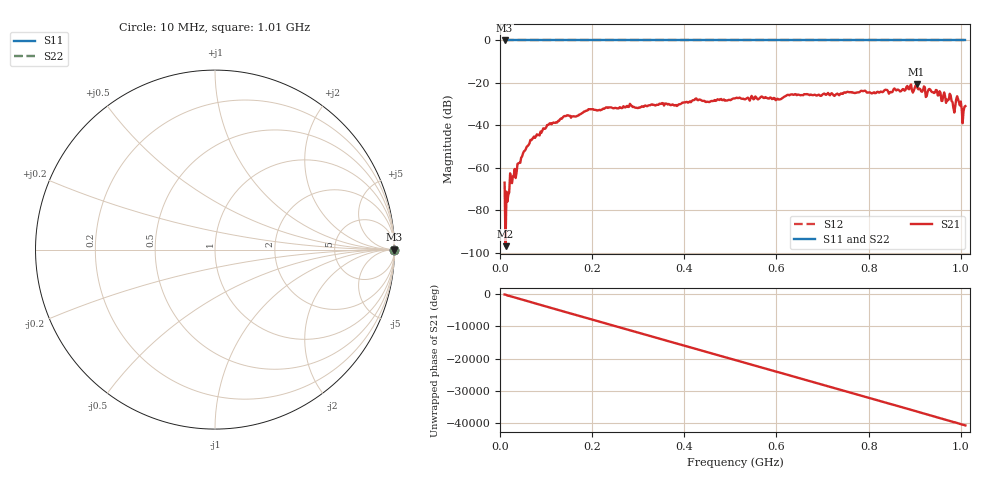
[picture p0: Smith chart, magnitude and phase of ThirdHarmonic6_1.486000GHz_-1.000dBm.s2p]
! 8/16/2025 5:23:43 PM
! C:\ANRITSUVNA\TEMP\TEMP.S2P
! CHANNEL.1
! TR.MEASUREMENT
! RAW.DATA
! RF.CORRECTION.OFF
! AVERAGING.OFF
! IF.BANDWIDTH: 5KHZ
! SWEEPTYPE:  FREQ.SWEEP(Linear)
! Reference Plane Port Info
! PORT:  PORT1  PORT2
! DISTANCE:  0  m  0  m
! TIME:  0  s  0  s
! PHASE.OFFSET:  0  deg.  0  deg.
! LOSS:  0  dB  0  dB
! REF.LOSS:  0  dB  0  dB
! REF.FREQ:  0  Hz  0  Hz
! Power Info
! POWER:  -20  dBm  -20  dBm
! EFF.POWER:  -20  dBm  -20  dBm
! SOURCE.ATTEN:  0  dB  0  dB
! TEST.ATTEN:  0  dB  0  dB
# GHZ S RI R 50.0
! FREQ.GHZ  S11RE  S11IM  S21RE  S21IM  S12RE  S12IM  S22RE  S22IM
!; PortSelection: Port_12
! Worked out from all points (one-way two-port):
!   501 points, 10 MHz to 1.01 GHz, reference 50 ohm
!   highest |S21| = -20.67 dB at 904 MHz (marker M1); lowest = -97.0 dB at 12 MHz (marker M2)
!   lowest |S11| = 0.0 dB at 10 MHz (marker M3)
!   |S11| at or under -10 dB: nowhere
!   |S22| runs from 0.0 to 0.0 dB; largest |S21 - S12| = 1.1
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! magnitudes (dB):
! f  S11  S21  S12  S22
! 10 MHz  0.0  -67.0  0.0  0.0
! 12 MHz  0.0  -97.0  0.0  0.0
! 16 MHz  0.0  -76.0  0.0  0.0
! 18 MHz  0.0  -72.9  0.0  0.0
! 26 MHz  0.0  -67.3  0.0  0.0
! 70 MHz  0.0  -46.5  0.0  0.0
! 106 MHz  0.0  -39.5  0.0  0.0
! 178 MHz  0.0  -34.3  0.0  0.0
! 196 MHz  0.0  -32.4  0.0  0.0
! 344 MHz  0.0  -30.3  0.0  0.0
! 510 MHz  0.0  -27.3  0.0  0.0
! 602 MHz  0.0  -27.4  0.0  0.0
! 628 MHz  0.0  -25.9  0.0  0.0
! 678 MHz  0.0  -25.8  0.0  0.0
! 844 MHz  0.0  -25.1  0.0  0.0
! 904 MHz  0.0  -20.7  0.0  0.0
! 978 MHz  0.0  -25.9  0.0  0.0
! 984 MHz  0.0  -31.8  0.0  0.0
! 996 MHz  0.0  -29.0  0.0  0.0
! 1 GHz  0.0  -28.8  0.0  0.0
! 1.006 GHz  0.0  -33.2  0.0  0.0
! 1.01 GHz  0.0  -30.9  0.0  0.0
